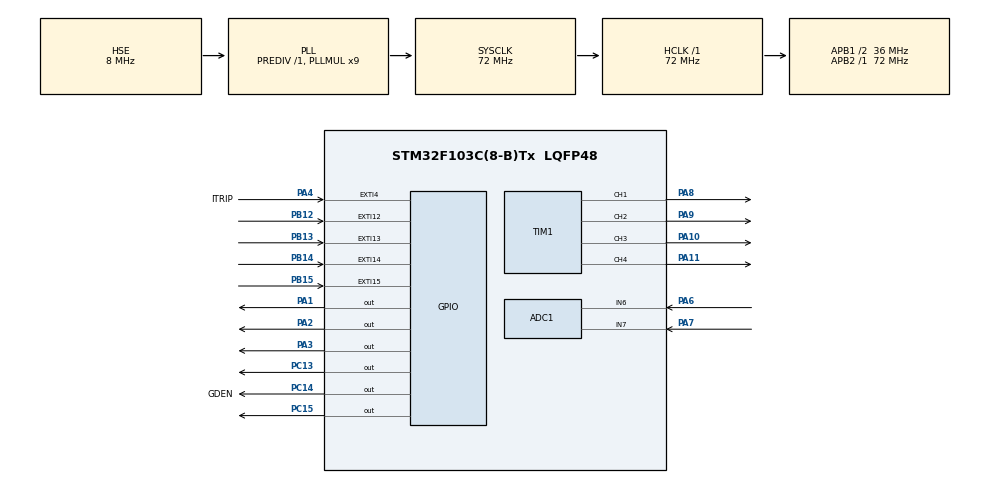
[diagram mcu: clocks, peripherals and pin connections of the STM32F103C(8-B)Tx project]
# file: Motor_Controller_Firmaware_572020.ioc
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ADC1.AWD1ITMode=ENABLE
ADC1.Channel-0\#ChannelRegularConversion=ADC_CHANNEL_6
ADC1.ContinuousConvMode=ENABLE
ADC1.EnableAnalogWatchDog=true
ADC1.EnableInjectedConversion=DISABLE
ADC1.ExternalTrigConv=ADC_SOFTWARE_START
ADC1.InjNumberOfConversion=1
ADC1.NbrOfConversion=1
ADC1.NbrOfConversionFlag=1
ADC1.Rank-0\#ChannelRegularConversion=1
ADC1.SamplingTime-0\#ChannelRegularConversion=ADC_SAMPLETIME_41CYCLES_5
ADC1.WatchdogChannel=ADC_CHANNEL_6
ADC1.WatchdogMode=ADC_ANALOGWATCHDOG_SINGLE_REG
ADC1.master=1
Mcu.Family=STM32F1
Mcu.Name=STM32F103C(8-B)Tx
Mcu.Package=LQFP48
Mcu.UserConstants=KP,500;KI,500
NVIC.ADC1_2_IRQn=true\:5\:0\:true\:false\:true\:true\:true
NVIC.EXTI15_10_IRQn=true\:5\:0\:true\:false\:true\:true\:true
NVIC.EXTI4_IRQn=true\:5\:0\:true\:false\:true\:true\:true
NVIC.PriorityGroup=NVIC_PRIORITYGROUP_4
NVIC.TIM1_UP_IRQn=true\:5\:0\:true\:false\:true\:true\:true
PA1.Signal=GPIO_Output
PA10.Signal=S_TIM1_CH3
PA11.Signal=S_TIM1_CH4
PA13.Mode=Trace_Asynchronous_SW
PA13.Signal=SYS_JTMS-SWDIO
PA14.Mode=Trace_Asynchronous_SW
PA14.Signal=SYS_JTCK-SWCLK
PA2.Signal=GPIO_Output
PA3.Signal=GPIO_Output
PA4.GPIO_Label=ITRIP
PA4.GPIO_ModeDefaultEXTI=GPIO_MODE_IT_RISING
PA4.GPIO_PuPd=GPIO_NOPULL
PA4.Signal=GPXTI4
PA6.Signal=ADCx_IN6
PA7.Signal=ADCx_IN7
PA8.Signal=S_TIM1_CH1
PA9.Signal=S_TIM1_CH2
PB12.GPIO_ModeDefaultEXTI=GPIO_MODE_IT_RISING_FALLING
PB12.GPIO_PuPd=GPIO_PULLUP
PB12.Signal=GPXTI12
PB13.GPIO_ModeDefaultEXTI=GPIO_MODE_IT_RISING_FALLING
PB13.GPIO_PuPd=GPIO_PULLUP
PB13.Signal=GPXTI13
PB14.GPIO_ModeDefaultEXTI=GPIO_MODE_IT_RISING_FALLING
PB14.GPIO_PuPd=GPIO_PULLUP
PB14.Signal=GPXTI14
PB15.GPIO_ModeDefaultEXTI=GPIO_MODE_IT_RISING_FALLING
PB15.GPIO_PuPd=GPIO_PULLUP
PB15.Signal=GPXTI15
PB3.Mode=Trace_Asynchronous_SW
PB3.Signal=SYS_JTDO-TRACESWO
PC13-TAMPER-RTC.Signal=GPIO_Output
PC14-OSC32_IN.GPIO_Label=GDEN
PC14-OSC32_IN.Signal=GPIO_Output
PC15-OSC32_OUT.Signal=GPIO_Output
PD0-OSC_IN.Mode=HSE-External-Oscillator
PD0-OSC_IN.Signal=RCC_OSC_IN
PD1-OSC_OUT.Mode=HSE-External-Oscillator
PD1-OSC_OUT.Signal=RCC_OSC_OUT
ProjectManager.HeapSize=0x200
ProjectManager.StackSize=0x400
ProjectManager.TargetToolchain=MDK-ARM V5.27
RCC.ADCPresc=RCC_ADCPCLK2_DIV6
RCC.AHBFreq_Value=72000000
RCC.APB1CLKDivider=RCC_HCLK_DIV2
RCC.APB1Freq_Value=36000000
RCC.APB1TimFreq_Value=72000000
RCC.APB2Freq_Value=72000000
RCC.APB2TimFreq_Value=72000000
RCC.EnbaleCSS=true
RCC.HCLKFreq_Value=72000000
RCC.PLLMUL=RCC_PLL_MUL9
RCC.PLLSourceVirtual=RCC_PLLSOURCE_HSE
RCC.RCC_MCOSource=RCC_MCO1SOURCE_PLLCLK
RCC.SYSCLKFreq_VALUE=72000000
RCC.SYSCLKSource=RCC_SYSCLKSOURCE_PLLCLK
RCC.USBFreq_Value=72000000
SH.ADCx_IN6.0=ADC1_IN6,IN6
SH.ADCx_IN7.0=ADC1_IN7,IN7
SH.S_TIM1_CH1.0=TIM1_CH1,PWM Generation1 CH1
SH.S_TIM1_CH2.0=TIM1_CH2,PWM Generation2 CH2
SH.S_TIM1_CH3.0=TIM1_CH3,PWM Generation3 CH3
SH.S_TIM1_CH4.0=TIM1_CH4,PWM Generation4 CH4
TIM1.Channel-PWM\ Generation1\ CH1=TIM_CHANNEL_1
TIM1.Channel-PWM\ Generation2\ CH2=TIM_CHANNEL_2
TIM1.Channel-PWM\ Generation3\ CH3=TIM_CHANNEL_3
TIM1.Channel-PWM\ Generation4\ CH4=TIM_CHANNEL_4
TIM1.TIM_MasterSlaveMode=TIM_MASTERSLAVEMODE_DISABLE
TIM3.Period=65535
TIM3.Prescaler=17
TIM4.Prescaler=71
VP_TIM1_VS_ClockSourceINT.Mode=Internal
VP_TIM3_VS_ClockSourceINT.Mode=Internal
VP_TIM4_VS_ClockSourceINT.Mode=Internal
board=custom

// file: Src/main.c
/* USER CODE BEGIN Header */
/**
  ******************************************************************************
  * @file           : main.c
  * @brief          : Main program body
  ******************************************************************************
  * @attention
  *
  * <h2><center>&copy; Copyright (c) 2020 STMicroelectronics.
  * All rights reserved.</center></h2>
  *
  * This software component is licensed by ST under BSD 3-Clause license,
  * the "License"; You may not use this file except in compliance with the
  * License. You may obtain a copy of the License at:
  *                        opensource.org/licenses/BSD-3-Clause
  *
  ******************************************************************************
  */
/* USER CODE END Header */
#include "main.h"

/* USER CODE BEGIN Includes */
#include "hall_sensor.h"
#include "main_closed_loop.h"
#include "stdio.h"
/* USER CODE END Includes */

ADC_HandleTypeDef hadc1;

TIM_HandleTypeDef htim1;
TIM_HandleTypeDef htim3;
TIM_HandleTypeDef htim4;

/* USER CODE BEGIN PV */
#ifdef DIRECTION_CW
  // Direction = 0x00
uint16_t Hall_DIR_sequence[] = {  0x00,
                                      1,       // Hall position 001
                                      2,       // Hall position 010
                                      3,       // Hall position 011
                                      4,       // Hall position 100
                                      5,       // Hall position 101
                                      6,       // Hall position 110
                                        0x00   };
#endif

#ifdef DIRECTION_CCW
#endif

// Motor and Commutation Variables
unsigned int Desired_PWM_DutyCycle, PWM_Update_Counter, ADC_Sample_Counter;
unsigned char Hall_IN=0,PreDriver_Sequence,Motor_Status, Hall_State_Unknown;
unsigned char Motor_status;

uint32_t  counter=0;
unsigned char  error = false;

// ADC Variables
unsigned long ADC_Results[4];
unsigned long Avg_vBUS, Avg_vPOT;
unsigned char SampleADC;
uint32_t sample = 0;

// Closed Loop Variables
unsigned char PID_Execute_Counter, ExecutePID;
unsigned int Expected_Hall_ISRs_1sec;
unsigned int Expected_COMM_PWM_Counts, Measured_COMM_PWM_Counts, JJ[100],j=0;
unsigned int Kp, Ki;
signed int s16_Proportional_Error, s16_Integral_Error, s16_PID_ControlLoop_Output;
unsigned int PID_Applied_PWM_DutyCycle;

//PWM Channel Variables
 uint32_t LW = GPIO_PIN_3 , LS = TIM_CHANNEL_1, HU = TIM_CHANNEL_2 , HV = TIM_CHANNEL_3 , HW = TIM_CHANNEL_4 , LU = GPIO_PIN_1 , LV = GPIO_PIN_2  ;

/* USER CODE END PV */

void SystemClock_Config(void);
static void MX_GPIO_Init(void);
static void MX_ADC1_Init(void);
static void MX_TIM1_Init(void);
static void MX_TIM3_Init(void);
static void MX_TIM4_Init(void);
/* USER CODE BEGIN PFP */

void PWM_update (unsigned char Next_Hall_Sequence);
void Start_Motor(void);
void Stop_Motor(void);
void Start_ADC_Conversion(void);

/* USER CODE END PFP */

/* USER CODE BEGIN 0 */
//************************************************************************************************************************//

void Start_Motor(void)
{
    // Read Speed Input and update dutycycle variable
#ifdef ANALOG_SPEEDIN
    Start_ADC_Conversion();

    Avg_vBUS = ADC_Results[0] >>3;
    Avg_vPOT = ADC_Results[1] >>3;
    Desired_PWM_DutyCycle = Avg_vPOT >> 3;    // ADC12 => 4096 ADC counts = 100% speed
                                              // 100% Dutycyle counts = 1066
                                              // ADC Pot Counts/4 = Dutycycle counts required
#endif

    if (Desired_PWM_DutyCycle < MIN_PWM_DUTYCYCLE)  // if < Min DutyCycle %age - latch to min value, 1023
        Desired_PWM_DutyCycle = MIN_PWM_DUTYCYCLE;

    if (Desired_PWM_DutyCycle < LOW_KP_KI_DUTYCYCLE)   // Dutycycle threshold which requires different Kp/Ki values
    {
        Kp = 500;
        Ki = 1;
    }
    else
    {
        Kp = 4000;
        Ki = 1;
    }
    // Since Expected_COMM_PWM_Counts change only when ADC input value that is read changes,
    // the expected value is computed in main while loop
    Expected_Hall_ISRs_1sec = ((unsigned long)(MAX_HALL_ISRs_1SEC)* (unsigned long)(Desired_PWM_DutyCycle))/(TIMER_PWM_PERIOD);
    Expected_COMM_PWM_Counts = (unsigned long)(TIMER_COUNTER_FREQ)*(unsigned long)(1000)/(Expected_Hall_ISRs_1sec);
                                              // Expected PWM counts based on max speed and speed input

    // Read Hall inputs
    Hall_IN = 0;
    Hall_IN = ((GPIOB->IDR)&0xF000)>>13;
    PWM_update(Hall_IN);
    Motor_Status = Running;
}

void Stop_Motor(void)
{

    Motor_Status = Stopped;
}
//************************************************************************************************************************//
void PWM_update (unsigned char Hall_IN)
{
  //Hall_U=> PB.15; Hall_V=> PB.14; Hall_W=> PB.13
	/*Stop All Signals*/
	  HAL_TIM_PWM_Stop(&htim1,HU);
		HAL_TIM_PWM_Stop(&htim1,HV);
		HAL_TIM_PWM_Stop(&htim1,HW);
	  HAL_GPIO_WritePin(GPIOA,LV,GPIO_PIN_RESET);
		HAL_GPIO_WritePin(GPIOA,LU,GPIO_PIN_RESET);
		HAL_GPIO_WritePin(GPIOA,LW,GPIO_PIN_RESET);

	/*Commutate to next sequence*/
      switch(Hall_IN)
      {
      case 1:		// Hall position 001
        HAL_TIM_PWM_Start(&htim1,HW);
		    HAL_GPIO_WritePin(GPIOA,LW,GPIO_PIN_SET);

        break;

      case 2:		// Hall position 001
        HAL_TIM_PWM_Start(&htim1,HV);
		    HAL_GPIO_WritePin(GPIOA,LV,GPIO_PIN_SET);

        break;

      case 3:		// Hall position 001
        HAL_TIM_PWM_Start(&htim1,HW);
		    HAL_GPIO_WritePin(GPIOA,LW,GPIO_PIN_SET);
        break;

      case 4:		// Hall position 001
        HAL_TIM_PWM_Start(&htim1,HU);
		    HAL_GPIO_WritePin(GPIOA,LU,GPIO_PIN_SET);
        break;

      case 5:		// Hall position 001
        HAL_TIM_PWM_Start(&htim1,HU);
		    HAL_GPIO_WritePin(GPIOA,LU,GPIO_PIN_SET);
        break;

      case 6:		// Hall position 001
        HAL_TIM_PWM_Start(&htim1,HV);
		    HAL_GPIO_WritePin(GPIOA,LV,GPIO_PIN_SET);
        break;

      default:
					HAL_GPIO_WritePin(GPIOA,LV,GPIO_PIN_RESET);
					HAL_GPIO_WritePin(GPIOA,LU,GPIO_PIN_RESET);
					HAL_GPIO_WritePin(GPIOA,LW,GPIO_PIN_RESET);
          Hall_State_Unknown = true;
        //Stop_Motor();
        break;
      }

  Hall_State_Unknown = false;
}

void Start_ADC_Conversion(void)
{
	/*Initiate ADC conversion after clearing the buffer*/
   ADC_Results[0] = 0x0;
   ADC_Results[1] = 0x0;
	 if(HAL_OK != HAL_ADC_Start_IT(&hadc1))
		Error_Handler();

}

//************************************************************************************************************************//
/* USER CODE END 0 */

int main(void)
{
  /* USER CODE BEGIN 1 */
	volatile unsigned int i;

  /* USER CODE END 1 */

  /* MCU Configuration--------------------------------------------------------*/

  /* Reset of all peripherals, Initializes the Flash interface and the Systick. */
  HAL_Init();

  /* Configure the system clock */
  SystemClock_Config();

  /* Initialize all configured peripherals */
  MX_GPIO_Init();
  MX_ADC1_Init();
  MX_TIM1_Init();
  MX_TIM3_Init();
  MX_TIM4_Init();
  /* USER CODE BEGIN 2 */

	/* Calibrate ADC*/
		if(HAL_OK != HAL_ADCEx_Calibration_Start(&hadc1))
		Error_Handler();

	/* Initialize Variables */
  ExecutePID = false;
  PID_Execute_Counter = 0x0;
  Measured_COMM_PWM_Counts = 0x0;
  Expected_COMM_PWM_Counts = 0x0;

  s16_Proportional_Error = 0x0;
  s16_Integral_Error = 0x0;
  s16_PID_ControlLoop_Output = 0x0;

  Motor_Status = Stopped;
  Hall_State_Unknown = true;
  SampleADC = false;

	/* Initialize Timer Peripherals */
	htim1.Instance->ARR= 4095;

	while(HAL_GetTick()<4000)
	{
		/*Waiting period before turn on*/;
	}

	/*Turn on Gate Driver*/;
	HAL_GPIO_WritePin(GPIOC,GDEN_Pin,GPIO_PIN_SET);

	/* Start Low Side PWM*/
	HAL_TIM_PWM_Start(&htim1,LS);

	/* Start Motor */
  if ((Motor_Status == Stopped)&&(Hall_State_Unknown == true))
	{Start_Motor();}

	/* Start Timer  */
	if(HAL_OK != HAL_TIM_Base_Start_IT(&htim1))
			Error_Handler();

	//counter=htim1.Instance->CNT;
  /* USER CODE END 2 */

  /* Infinite loop */
  /* USER CODE BEGIN WHILE */
  while (1)
  {

		   counter = __HAL_TIM_GET_COUNTER(&htim1);
	     //Measured_COMM_PWM_Counts=3000;

		if(SampleADC == true)
      {
          // Trigger ADC Sampling
          #ifdef ANALOG_SPEEDIN
              //Start_ADC_Conversion();

              Avg_vBUS = ADC_Results[0] >> 3;
              Avg_vPOT = ADC_Results[1] >> 3;
              Desired_PWM_DutyCycle = Avg_vPOT/SPEEDIN_PWM_FACTOR;
                                                        // ADC12 => 4096 ADC counts = 100% speed
                                                        // 100% Dutycyle counts = TIMER_PWM_PERIOD
                                                        // ADC Pot Counts/SPEEDIN_PWM_FACTOR = Dutycycle counts required
                  Start_ADC_Conversion();
          #endif

          if (Desired_PWM_DutyCycle < MIN_PWM_DUTYCYCLE)    // if < Min DutyCycle %age - latch to min value, 1023
              Desired_PWM_DutyCycle = MIN_PWM_DUTYCYCLE;
          // Apply Kp, Ki values depending on desired dutycycle
          if (Desired_PWM_DutyCycle < LOW_KP_KI_DUTYCYCLE)  // Dutycycle threshold which requires different Kp/Ki values
          {
              Kp = 500;
              Ki = 0;
          }
          else
          {

              Kp = 4000;
              Ki = 1;
          }

          SampleADC = false;

          // Since Expected_COMM_PWM_Counts change only when ADC input value that is read changes,
          // the expected value is computed in main while loop
          Expected_Hall_ISRs_1sec = ((unsigned long)(MAX_HALL_ISRs_1SEC)* (unsigned long)(Desired_PWM_DutyCycle))/(TIMER_PWM_PERIOD);
          Expected_COMM_PWM_Counts = (unsigned long)(TIMER_COUNTER_FREQ)*(unsigned long)(1000)/(Expected_Hall_ISRs_1sec);
                                              // Expected PWM counts based on max speed and speed input
      }

      if((ExecutePID == true) && (Measured_COMM_PWM_Counts!=0))
      {
          // PID Motor Speed Control Loop

          // Compute Proportional and Integral Errors
          s16_Proportional_Error = Expected_COMM_PWM_Counts - Measured_COMM_PWM_Counts; // signed int P error = desired-actual
          s16_Integral_Error += s16_Proportional_Error;                                 // signed int I error = Accumulate P errors

          s16_PID_ControlLoop_Output = ((((long)Kp*(long)s16_Proportional_Error) + (((long)Ki*(long)s16_Integral_Error))) >> 14)/3;
                                                                            // PID Control Loop Equation; Kd = 0

          PID_Applied_PWM_DutyCycle = Desired_PWM_DutyCycle + (s16_PID_ControlLoop_Output>>3);
          JJ[j++] = PID_Applied_PWM_DutyCycle;
          if(j>100)
            j=0;

          if (PID_Applied_PWM_DutyCycle < MIN_PWM_DUTYCYCLE)   // 1023
          {
              PID_Applied_PWM_DutyCycle = MIN_PWM_DUTYCYCLE;   // < Min DutyCycle %age - latch to min value, 1023
              s16_Integral_Error = 0x0;
          }
          if (PID_Applied_PWM_DutyCycle > TIMER_PWM_PERIOD)   // 1023
          {
              PID_Applied_PWM_DutyCycle = TIMER_PWM_PERIOD;   // > Max PWM DutyCycle - latch to 100% or max value, 1023
              s16_Integral_Error = 0x0;
          }

          // Initialize PWM outputs with initial dutycycle counts
          htim1.Instance->CCR1 = PID_Applied_PWM_DutyCycle;
					htim1.Instance->CCR2 = PID_Applied_PWM_DutyCycle;
					htim1.Instance->CCR3 = PID_Applied_PWM_DutyCycle;
					htim1.Instance->CCR4 = PID_Applied_PWM_DutyCycle;

          ExecutePID = false;
      }
    /* USER CODE END WHILE */

  }
}

void SystemClock_Config(void)
{
  RCC_OscInitTypeDef RCC_OscInitStruct = {0};
  RCC_ClkInitTypeDef RCC_ClkInitStruct = {0};
  RCC_PeriphCLKInitTypeDef PeriphClkInit = {0};

  /** Initializes the RCC Oscillators according to the specified parameters
  * in the RCC_OscInitTypeDef structure.
  */
  RCC_OscInitStruct.OscillatorType = RCC_OSCILLATORTYPE_HSE;
  RCC_OscInitStruct.HSEState = RCC_HSE_ON;
  RCC_OscInitStruct.HSEPredivValue = RCC_HSE_PREDIV_DIV1;
  RCC_OscInitStruct.HSIState = RCC_HSI_ON;
  RCC_OscInitStruct.PLL.PLLState = RCC_PLL_ON;
  RCC_OscInitStruct.PLL.PLLSource = RCC_PLLSOURCE_HSE;
  RCC_OscInitStruct.PLL.PLLMUL = RCC_PLL_MUL9;
  if (HAL_RCC_OscConfig(&RCC_OscInitStruct) != HAL_OK)
  {
    Error_Handler();
  }
  /** Initializes the CPU, AHB and APB buses clocks
  */
  RCC_ClkInitStruct.ClockType = RCC_CLOCKTYPE_HCLK|RCC_CLOCKTYPE_SYSCLK
                              |RCC_CLOCKTYPE_PCLK1|RCC_CLOCKTYPE_PCLK2;
  RCC_ClkInitStruct.SYSCLKSource = RCC_SYSCLKSOURCE_PLLCLK;
  RCC_ClkInitStruct.AHBCLKDivider = RCC_SYSCLK_DIV1;
  RCC_ClkInitStruct.APB1CLKDivider = RCC_HCLK_DIV2;
  RCC_ClkInitStruct.APB2CLKDivider = RCC_HCLK_DIV1;

  if (HAL_RCC_ClockConfig(&RCC_ClkInitStruct, FLASH_LATENCY_2) != HAL_OK)
  {
    Error_Handler();
  }
  PeriphClkInit.PeriphClockSelection = RCC_PERIPHCLK_ADC;
  PeriphClkInit.AdcClockSelection = RCC_ADCPCLK2_DIV6;
  if (HAL_RCCEx_PeriphCLKConfig(&PeriphClkInit) != HAL_OK)
  {
    Error_Handler();
  }
  /** Enables the Clock Security System
  */
  HAL_RCC_EnableCSS();
}

static void MX_ADC1_Init(void)
{

  ADC_AnalogWDGConfTypeDef AnalogWDGConfig = {0};
  ADC_ChannelConfTypeDef sConfig = {0};

  /** Common config
  */
  hadc1.Instance = ADC1;
  hadc1.Init.ScanConvMode = ADC_SCAN_DISABLE;
  hadc1.Init.ContinuousConvMode = ENABLE;
  hadc1.Init.DiscontinuousConvMode = DISABLE;
  hadc1.Init.ExternalTrigConv = ADC_SOFTWARE_START;
  hadc1.Init.DataAlign = ADC_DATAALIGN_RIGHT;
  hadc1.Init.NbrOfConversion = 1;
  if (HAL_ADC_Init(&hadc1) != HAL_OK)
  {
    Error_Handler();
  }
  /** Configure Analog WatchDog 1
  */
  AnalogWDGConfig.WatchdogMode = ADC_ANALOGWATCHDOG_SINGLE_REG;
  AnalogWDGConfig.HighThreshold = 0;
  AnalogWDGConfig.LowThreshold = 0;
  AnalogWDGConfig.Channel = ADC_CHANNEL_6;
  AnalogWDGConfig.ITMode = ENABLE;
  if (HAL_ADC_AnalogWDGConfig(&hadc1, &AnalogWDGConfig) != HAL_OK)
  {
    Error_Handler();
  }
  /** Configure Regular Channel
  */
  sConfig.Channel = ADC_CHANNEL_6;
  sConfig.Rank = ADC_REGULAR_RANK_1;
  sConfig.SamplingTime = ADC_SAMPLETIME_41CYCLES_5;
  if (HAL_ADC_ConfigChannel(&hadc1, &sConfig) != HAL_OK)
  {
    Error_Handler();
  }

}

static void MX_TIM1_Init(void)
{

  TIM_ClockConfigTypeDef sClockSourceConfig = {0};
  TIM_MasterConfigTypeDef sMasterConfig = {0};
  TIM_OC_InitTypeDef sConfigOC = {0};
  TIM_BreakDeadTimeConfigTypeDef sBreakDeadTimeConfig = {0};

  htim1.Instance = TIM1;
  htim1.Init.Prescaler = 0;
  htim1.Init.CounterMode = TIM_COUNTERMODE_UP;
  htim1.Init.Period = 65535;
  htim1.Init.ClockDivision = TIM_CLOCKDIVISION_DIV1;
  htim1.Init.RepetitionCounter = 0;
  htim1.Init.AutoReloadPreload = TIM_AUTORELOAD_PRELOAD_DISABLE;
  if (HAL_TIM_Base_Init(&htim1) != HAL_OK)
  {
    Error_Handler();
  }
  sClockSourceConfig.ClockSource = TIM_CLOCKSOURCE_INTERNAL;
  if (HAL_TIM_ConfigClockSource(&htim1, &sClockSourceConfig) != HAL_OK)
  {
    Error_Handler();
  }
  if (HAL_TIM_PWM_Init(&htim1) != HAL_OK)
  {
    Error_Handler();
  }
  sMasterConfig.MasterOutputTrigger = TIM_TRGO_RESET;
  sMasterConfig.MasterSlaveMode = TIM_MASTERSLAVEMODE_DISABLE;
  if (HAL_TIMEx_MasterConfigSynchronization(&htim1, &sMasterConfig) != HAL_OK)
  {
    Error_Handler();
  }
  sConfigOC.OCMode = TIM_OCMODE_PWM1;
  sConfigOC.Pulse = 0;
  sConfigOC.OCPolarity = TIM_OCPOLARITY_HIGH;
  sConfigOC.OCNPolarity = TIM_OCNPOLARITY_HIGH;
  sConfigOC.OCFastMode = TIM_OCFAST_DISABLE;
  sConfigOC.OCIdleState = TIM_OCIDLESTATE_RESET;
  sConfigOC.OCNIdleState = TIM_OCNIDLESTATE_RESET;
  if (HAL_TIM_PWM_ConfigChannel(&htim1, &sConfigOC, TIM_CHANNEL_1) != HAL_OK)
  {
    Error_Handler();
  }
  if (HAL_TIM_PWM_ConfigChannel(&htim1, &sConfigOC, TIM_CHANNEL_2) != HAL_OK)
  {
    Error_Handler();
  }
  if (HAL_TIM_PWM_ConfigChannel(&htim1, &sConfigOC, TIM_CHANNEL_3) != HAL_OK)
  {
    Error_Handler();
  }
  if (HAL_TIM_PWM_ConfigChannel(&htim1, &sConfigOC, TIM_CHANNEL_4) != HAL_OK)
  {
    Error_Handler();
  }
  sBreakDeadTimeConfig.OffStateRunMode = TIM_OSSR_DISABLE;
  sBreakDeadTimeConfig.OffStateIDLEMode = TIM_OSSI_DISABLE;
  sBreakDeadTimeConfig.LockLevel = TIM_LOCKLEVEL_OFF;
  sBreakDeadTimeConfig.DeadTime = 0;
  sBreakDeadTimeConfig.BreakState = TIM_BREAK_DISABLE;
  sBreakDeadTimeConfig.BreakPolarity = TIM_BREAKPOLARITY_HIGH;
  sBreakDeadTimeConfig.AutomaticOutput = TIM_AUTOMATICOUTPUT_DISABLE;
  if (HAL_TIMEx_ConfigBreakDeadTime(&htim1, &sBreakDeadTimeConfig) != HAL_OK)
  {
    Error_Handler();
  }
  HAL_TIM_MspPostInit(&htim1);

}

static void MX_TIM3_Init(void)
{

  TIM_ClockConfigTypeDef sClockSourceConfig = {0};
  TIM_MasterConfigTypeDef sMasterConfig = {0};

  htim3.Instance = TIM3;
  htim3.Init.Prescaler = 17;
  htim3.Init.CounterMode = TIM_COUNTERMODE_UP;
  htim3.Init.Period = 65535;
  htim3.Init.ClockDivision = TIM_CLOCKDIVISION_DIV1;
  htim3.Init.AutoReloadPreload = TIM_AUTORELOAD_PRELOAD_DISABLE;
  if (HAL_TIM_Base_Init(&htim3) != HAL_OK)
  {
    Error_Handler();
  }
  sClockSourceConfig.ClockSource = TIM_CLOCKSOURCE_INTERNAL;
  if (HAL_TIM_ConfigClockSource(&htim3, &sClockSourceConfig) != HAL_OK)
  {
    Error_Handler();
  }
  sMasterConfig.MasterOutputTrigger = TIM_TRGO_RESET;
  sMasterConfig.MasterSlaveMode = TIM_MASTERSLAVEMODE_DISABLE;
  if (HAL_TIMEx_MasterConfigSynchronization(&htim3, &sMasterConfig) != HAL_OK)
  {
    Error_Handler();
  }

}

static void MX_TIM4_Init(void)
{

  TIM_ClockConfigTypeDef sClockSourceConfig = {0};
  TIM_MasterConfigTypeDef sMasterConfig = {0};

  htim4.Instance = TIM4;
  htim4.Init.Prescaler = 71;
  htim4.Init.CounterMode = TIM_COUNTERMODE_UP;
  htim4.Init.Period = 65535;
  htim4.Init.ClockDivision = TIM_CLOCKDIVISION_DIV1;
  htim4.Init.AutoReloadPreload = TIM_AUTORELOAD_PRELOAD_DISABLE;
  if (HAL_TIM_Base_Init(&htim4) != HAL_OK)
  {
    Error_Handler();
  }
  sClockSourceConfig.ClockSource = TIM_CLOCKSOURCE_INTERNAL;
  if (HAL_TIM_ConfigClockSource(&htim4, &sClockSourceConfig) != HAL_OK)
  {
    Error_Handler();
  }
  sMasterConfig.MasterOutputTrigger = TIM_TRGO_RESET;
  sMasterConfig.MasterSlaveMode = TIM_MASTERSLAVEMODE_DISABLE;
  if (HAL_TIMEx_MasterConfigSynchronization(&htim4, &sMasterConfig) != HAL_OK)
  {
    Error_Handler();
  }

}

static void MX_GPIO_Init(void)
{
  GPIO_InitTypeDef GPIO_InitStruct = {0};

  /* GPIO Ports Clock Enable */
  __HAL_RCC_GPIOC_CLK_ENABLE();
  __HAL_RCC_GPIOD_CLK_ENABLE();
  __HAL_RCC_GPIOA_CLK_ENABLE();
  __HAL_RCC_GPIOB_CLK_ENABLE();

  /*Configure GPIO pin Output Level */
  HAL_GPIO_WritePin(GPIOC, GPIO_PIN_13|GDEN_Pin|GPIO_PIN_15, GPIO_PIN_RESET);

  /*Configure GPIO pin Output Level */
  HAL_GPIO_WritePin(GPIOA, GPIO_PIN_1|GPIO_PIN_2|GPIO_PIN_3, GPIO_PIN_RESET);

  /*Configure GPIO pins : PC13 GDEN_Pin PC15 */
  GPIO_InitStruct.Pin = GPIO_PIN_13|GDEN_Pin|GPIO_PIN_15;
  GPIO_InitStruct.Mode = GPIO_MODE_OUTPUT_PP;
  GPIO_InitStruct.Pull = GPIO_NOPULL;
  GPIO_InitStruct.Speed = GPIO_SPEED_FREQ_LOW;
  HAL_GPIO_Init(GPIOC, &GPIO_InitStruct);

  /*Configure GPIO pins : PA1 PA2 PA3 */
  GPIO_InitStruct.Pin = GPIO_PIN_1|GPIO_PIN_2|GPIO_PIN_3;
  GPIO_InitStruct.Mode = GPIO_MODE_OUTPUT_PP;
  GPIO_InitStruct.Pull = GPIO_NOPULL;
  GPIO_InitStruct.Speed = GPIO_SPEED_FREQ_LOW;
  HAL_GPIO_Init(GPIOA, &GPIO_InitStruct);

  /*Configure GPIO pin : ITRIP_Pin */
  GPIO_InitStruct.Pin = ITRIP_Pin;
  GPIO_InitStruct.Mode = GPIO_MODE_IT_RISING;
  GPIO_InitStruct.Pull = GPIO_NOPULL;
  HAL_GPIO_Init(ITRIP_GPIO_Port, &GPIO_InitStruct);

  /*Configure GPIO pins : PB12 PB13 PB14 PB15 */
  GPIO_InitStruct.Pin = GPIO_PIN_12|GPIO_PIN_13|GPIO_PIN_14|GPIO_PIN_15;
  GPIO_InitStruct.Mode = GPIO_MODE_IT_RISING_FALLING;
  GPIO_InitStruct.Pull = GPIO_PULLUP;
  HAL_GPIO_Init(GPIOB, &GPIO_InitStruct);

  /* EXTI interrupt init*/
  HAL_NVIC_SetPriority(EXTI4_IRQn, 5, 0);
  HAL_NVIC_EnableIRQ(EXTI4_IRQn);

  HAL_NVIC_SetPriority(EXTI15_10_IRQn, 5, 0);
  HAL_NVIC_EnableIRQ(EXTI15_10_IRQn);

}

/* USER CODE BEGIN 4 */
void HAL_GPIO_EXTI_Callback(uint16_t GPIO_Pin)
{
	HAL_TIM_Base_Start(&htim4);

	htim1.Instance->CCR1 = 0;
	htim1.Instance->CCR2 = 0;
	htim1.Instance->CCR3 = 0;
	htim1.Instance->CCR4 = 0;

	while(HAL_GPIO_ReadPin(GPIOA,ITRIP_Pin))
	{
		if(__HAL_TIM_GET_COUNTER(&htim4)>300)
		{
		while(1);
		}
		}
	HAL_TIM_Base_Stop(&htim4);
	__HAL_TIM_SET_COUNTER(&htim4,0);

	//while (__HAL_TIM_GET_FLAG()!=SET);	error
	htim1.Instance->CCR1 = PID_Applied_PWM_DutyCycle;
	htim1.Instance->CCR2 = PID_Applied_PWM_DutyCycle;
	htim1.Instance->CCR3 = PID_Applied_PWM_DutyCycle;
	htim1.Instance->CCR4 = PID_Applied_PWM_DutyCycle;
}
void HAL_TIM_PeriodElapsedCallback(TIM_HandleTypeDef *htim)
{
	// heart beat signal = PWM period
    PID_Execute_Counter++;
    ADC_Sample_Counter++;

    if(PID_Execute_Counter > PID_EXECUTE_PWM_PERIODS)
    {
        ExecutePID = true;
        PID_Execute_Counter = 0x0;
    }

    if(ADC_Sample_Counter > ADC_SAMPLING_PWM_PERIODS)
    {
        ADC_Sample_Counter = 0x0;
        SampleADC = true;
    }
}
void HAL_ADC_ConvCpltCallback(ADC_HandleTypeDef* hadc)
{

	ADC_Results[1] += HAL_ADC_GetValue(&hadc1);            // Move results
  sample=sample+1;

	if (sample >= 8)
    {
      if(HAL_OK != HAL_ADC_Stop_IT(&hadc1))
			Error_Handler();

			sample = 0;
		}
}
/* USER CODE END 4 */

void Error_Handler(void)
{
  /* USER CODE BEGIN Error_Handler_Debug */
  /* User can add his own implementation to report the HAL error return state */
error = true ;
  /* USER CODE END Error_Handler_Debug */
}

/************************ (C) COPYRIGHT STMicroelectronics *****END OF FILE****/
